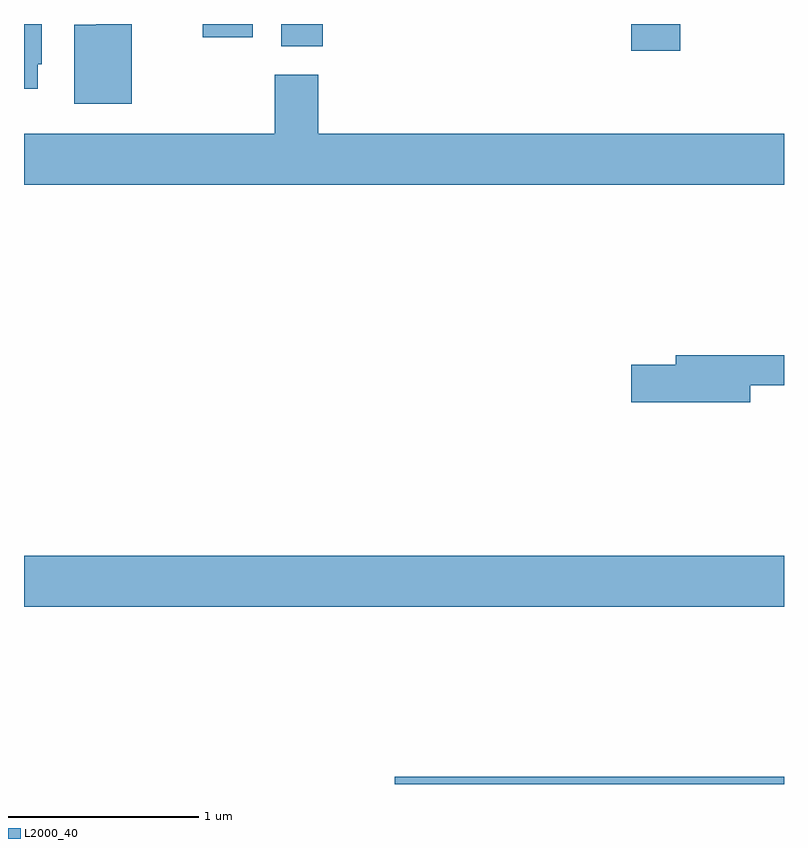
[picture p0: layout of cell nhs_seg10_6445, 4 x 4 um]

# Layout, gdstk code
import gdstk
lib = gdstk.Library(unit=1e-6, precision=1e-09)
def R(c, l, rs):  # rectangles x0, y0, x1, y1
    for r in rs: c.add(gdstk.rectangle(r[:2], r[2:], *l))
def P(c, l, *ps):  # polygons
    for p in ps: c.add(gdstk.Polygon(p, *l))
L2000_40 = (2000, 40)

nhs_seg10_6445 = lib.new_cell('nhs_seg10_6445')
R(nhs_seg10_6445, L2000_40, [(377.561,2128.522,379.611,2128.559), (375.611,2129.456,379.611,2129.724), (378.806,2132.381,379.064,2132.522), (376.966,2132.406,377.184,2132.522), (376.551,2132.451,376.814,2132.522)])
P(nhs_seg10_6445, L2000_40, [(375.684,2132.311),(375.704,2132.311),(375.704,2132.522),(375.611,2132.522),(375.611,2132.181),(375.684,2132.181)],
  [(376.179,2132.522),(375.991,2132.522),(375.991,2132.519),(375.876,2132.519),(375.876,2132.101),(376.179,2132.101)],
  [(379.611,2131.944),(377.159,2131.944),(377.159,2132.254),(376.931,2132.254),(376.931,2131.944),(375.611,2131.944),(375.611,2131.676),(379.611,2131.676)],
  [(379.434,2130.621),(379.611,2130.621),(379.611,2130.779),(379.041,2130.779),(379.041,2130.729),(378.806,2130.729),(378.806,2130.531),(379.434,2130.531)])

lib.write_gds('nhs_seg10_6445.gds')
